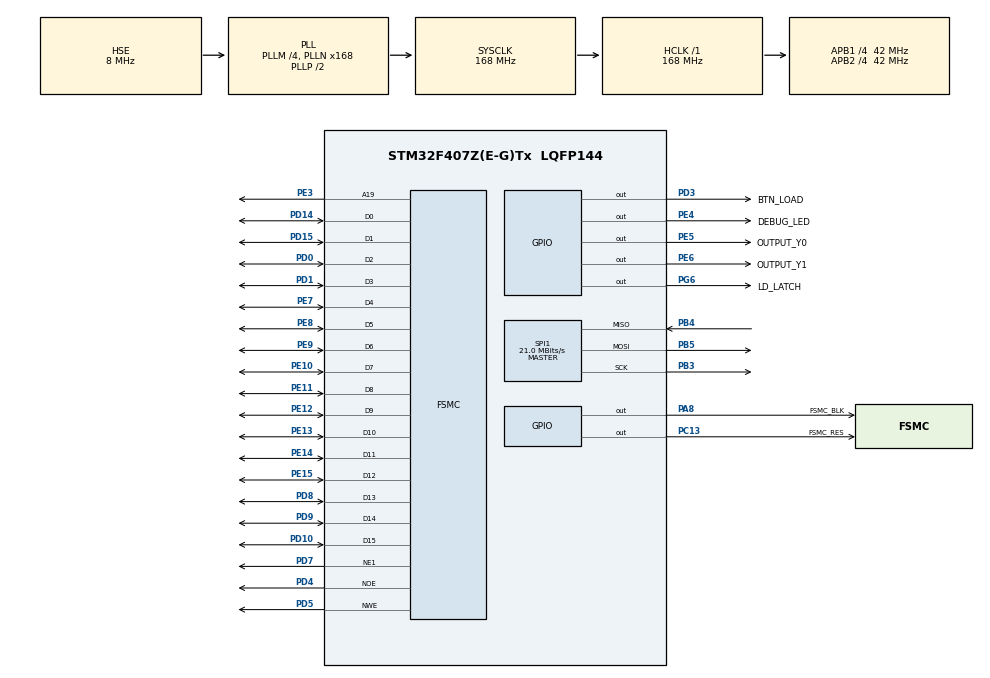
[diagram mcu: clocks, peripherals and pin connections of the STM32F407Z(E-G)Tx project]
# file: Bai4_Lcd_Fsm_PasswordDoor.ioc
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FSMC.AddressSetupTime1=0xf
FSMC.BusTurnAroundDuration1=0
FSMC.DataSetupTime1=60
FSMC.ExtendedAddressSetupTime1=9
FSMC.ExtendedBusTurnAroundDuration1=0
FSMC.ExtendedDataSetupTime1=8
FSMC.ExtendedMode1=FSMC_EXTENDED_MODE_ENABLE
Mcu.Family=STM32F4
Mcu.Name=STM32F407Z(E-G)Tx
Mcu.Package=LQFP144
NVIC.PriorityGroup=NVIC_PRIORITYGROUP_4
NVIC.TIM2_IRQn=true\:0\:0\:false\:false\:true\:true\:true
PA13.Mode=Serial_Wire
PA13.Signal=SYS_JTMS-SWDIO
PA14.Mode=Serial_Wire
PA14.Signal=SYS_JTCK-SWCLK
PA8.GPIO_Label=FSMC_BLK
PA8.Signal=GPIO_Output
PB3.Mode=Full_Duplex_Master
PB3.Signal=SPI1_SCK
PB4.Mode=Full_Duplex_Master
PB4.Signal=SPI1_MISO
PB5.Mode=Full_Duplex_Master
PB5.Signal=SPI1_MOSI
PC13-ANTI_TAMP.GPIO_Label=FSMC_RES
PC13-ANTI_TAMP.Signal=GPIO_Output
PD0.Signal=FSMC_D2_DA2
PD1.Signal=FSMC_D3_DA3
PD10.Signal=FSMC_D15_DA15
PD14.Signal=FSMC_D0_DA0
PD15.Signal=FSMC_D1_DA1
PD3.GPIO_Label=BTN_LOAD
PD3.Signal=GPIO_Output
PD4.Signal=FSMC_NOE
PD5.Signal=FSMC_NWE
PD7.Mode=NorPsramChipSelect1_1
PD7.Signal=FSMC_NE1
PD8.Signal=FSMC_D13_DA13
PD9.Signal=FSMC_D14_DA14
PE10.Signal=FSMC_D7_DA7
PE11.Signal=FSMC_D8_DA8
PE12.Signal=FSMC_D9_DA9
PE13.Signal=FSMC_D10_DA10
PE14.Signal=FSMC_D11_DA11
PE15.Signal=FSMC_D12_DA12
PE3.Signal=FSMC_A19
PE4.GPIO_Label=DEBUG_LED
PE4.Signal=GPIO_Output
PE5.GPIO_Label=OUTPUT_Y0
PE5.Signal=GPIO_Output
PE6.GPIO_Label=OUTPUT_Y1
PE6.Signal=GPIO_Output
PE7.Signal=FSMC_D4_DA4
PE8.Signal=FSMC_D5_DA5
PE9.Signal=FSMC_D6_DA6
PG6.GPIO_Label=LD_LATCH
PG6.Signal=GPIO_Output
PH0-OSC_IN.Mode=HSE-External-Oscillator
PH0-OSC_IN.Signal=RCC_OSC_IN
PH1-OSC_OUT.Mode=HSE-External-Oscillator
PH1-OSC_OUT.Signal=RCC_OSC_OUT
ProjectManager.HeapSize=0x200
ProjectManager.StackSize=0x400
ProjectManager.TargetToolchain=STM32CubeIDE
RCC.48MHZClocksFreq_Value=84000000
RCC.AHBFreq_Value=168000000
RCC.APB1CLKDivider=RCC_HCLK_DIV4
RCC.APB1Freq_Value=42000000
RCC.APB1TimFreq_Value=84000000
RCC.APB2CLKDivider=RCC_HCLK_DIV4
RCC.APB2Freq_Value=42000000
RCC.APB2TimFreq_Value=84000000
RCC.CortexFreq_Value=168000000
RCC.HCLKFreq_Value=168000000
RCC.HSE_VALUE=8000000
RCC.HSI_VALUE=16000000
RCC.LSE_VALUE=32768
RCC.PLLM=4
RCC.PLLN=168
RCC.PLLSourceVirtual=RCC_PLLSOURCE_HSE
RCC.SYSCLKFreq_VALUE=168000000
RCC.SYSCLKSource=RCC_SYSCLKSOURCE_PLLCLK
RCC.VCOOutputFreq_Value=336000000
SH.FSMC_A19.0=FSMC_A19,A19_1
SH.FSMC_D0_DA0.0=FSMC_D0,16b-d1
SH.FSMC_D10_DA10.0=FSMC_D10,16b-d1
SH.FSMC_D11_DA11.0=FSMC_D11,16b-d1
SH.FSMC_D12_DA12.0=FSMC_D12,16b-d1
SH.FSMC_D13_DA13.0=FSMC_D13,16b-d1
SH.FSMC_D14_DA14.0=FSMC_D14,16b-d1
SH.FSMC_D15_DA15.0=FSMC_D15,16b-d1
SH.FSMC_D1_DA1.0=FSMC_D1,16b-d1
SH.FSMC_D2_DA2.0=FSMC_D2,16b-d1
SH.FSMC_D3_DA3.0=FSMC_D3,16b-d1
SH.FSMC_D4_DA4.0=FSMC_D4,16b-d1
SH.FSMC_D5_DA5.0=FSMC_D5,16b-d1
SH.FSMC_D6_DA6.0=FSMC_D6,16b-d1
SH.FSMC_D7_DA7.0=FSMC_D7,16b-d1
SH.FSMC_D8_DA8.0=FSMC_D8,16b-d1
SH.FSMC_D9_DA9.0=FSMC_D9,16b-d1
SH.FSMC_NOE.0=FSMC_NOE,Lcd1
SH.FSMC_NWE.0=FSMC_NWE,Lcd1
SPI1.CalculateBaudRate=21.0 MBits/s
SPI1.Direction=SPI_DIRECTION_2LINES
SPI1.Mode=SPI_MODE_MASTER
SPI1.VirtualType=VM_MASTER
TIM2.Period=100-1
TIM2.Prescaler=840-1
VP_TIM2_VS_ClockSourceINT.Mode=Internal
board=custom

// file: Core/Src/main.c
/* USER CODE BEGIN Header */
/**
  ******************************************************************************
  * @file           : main.c
  * @brief          : Main program body
  ******************************************************************************
  * @attention
  *
  * <h2><center>&copy; Copyright (c) 2023 STMicroelectronics.
  * All rights reserved.</center></h2>
  *
  * This software component is licensed by ST under BSD 3-Clause license,
  * the "License"; You may not use this file except in compliance with the
  * License. You may obtain a copy of the License at:
  *                        opensource.org/licenses/BSD-3-Clause
  *
  ******************************************************************************
  */
/* USER CODE END Header */
#include "main.h"
#include "spi.h"
#include "tim.h"
#include "gpio.h"
#include "fsmc.h"

/* USER CODE BEGIN Includes */
#include "software_timer.h"
#include "button.h"
#include "led7seg.h"
#include "lcd.h"
#include "picture.h"
/* USER CODE END Includes */

/* USER CODE BEGIN PM */
#define INIT_SYSTEM		0
#define LOCK_DOOR		6
#define ENTER_PASSWORD	1
#define UNLOCK_DOOR		3
#define WRONG_PASSWORD	4
#define CHECK_PASSWORD	5
/* USER CODE END PM */

/* USER CODE BEGIN PV */
uint8_t count_led_debug = 0;
uint8_t count_led_Y0 = 0;
uint8_t count_led_Y1 = 0;

uint16_t count_led7 = 0;

unsigned char arrayMapOfNumber[10] = {13, 0, 1, 2, 4, 5, 6, 8, 9, 10 };
unsigned char arrayMapOfPassword[4] = { 2, 2, 2, 2 };
unsigned char arrayPassword[4] = { 0, 0, 0, 0 };
uint16_t statusPassword = 0;
uint16_t indexOfNumber = 0;
uint16_t numberValue;
uint16_t timeDelay = 0;
uint8_t flag_open = 0;
/* USER CODE END PV */

void SystemClock_Config(void);
/* USER CODE BEGIN PFP */
void system_init();
void test_LedDebug();
void App_PasswordDoor();
void UnlockDoor();
void LockDoor();
uint8_t isButtonEnter();
uint16_t isButtonNumber();
uint16_t checkPassword();

/* USER CODE END PFP */

int main(void)
{

  /* MCU Configuration--------------------------------------------------------*/

  /* Reset of all peripherals, Initializes the Flash interface and the Systick. */
  HAL_Init();

  /* Configure the system clock */
  SystemClock_Config();

  /* Initialize all configured peripherals */
  MX_GPIO_Init();
  MX_TIM2_Init();
  MX_SPI1_Init();
  MX_FSMC_Init();
  /* USER CODE BEGIN 2 */
  system_init();
  led7_SetDigit(9, 0, 0);
  led7_SetDigit(4, 1, 1);
  led7_SetDigit(2, 2, 0);
  led7_SetDigit(7, 3, 0);
  led7_SetColon(0);
  led_On(6);
  led_Off(7);
  led_On(8);
//  lcd_ShowBackground();
  lcd_Clear(BLACK);

  /* USER CODE END 2 */

  /* Infinite loop */
  /* USER CODE BEGIN WHILE */
  while (1)
  {
	  while(!flag_timer2);
	  flag_timer2 = 0;
	  button_Scan();
	  App_PasswordDoor();
    /* USER CODE END WHILE */

  }
}

void SystemClock_Config(void)
{
  RCC_OscInitTypeDef RCC_OscInitStruct = {0};
  RCC_ClkInitTypeDef RCC_ClkInitStruct = {0};

  /** Configure the main internal regulator output voltage
  */
  __HAL_RCC_PWR_CLK_ENABLE();
  __HAL_PWR_VOLTAGESCALING_CONFIG(PWR_REGULATOR_VOLTAGE_SCALE1);
  /** Initializes the RCC Oscillators according to the specified parameters
  * in the RCC_OscInitTypeDef structure.
  */
  RCC_OscInitStruct.OscillatorType = RCC_OSCILLATORTYPE_HSE;
  RCC_OscInitStruct.HSEState = RCC_HSE_ON;
  RCC_OscInitStruct.PLL.PLLState = RCC_PLL_ON;
  RCC_OscInitStruct.PLL.PLLSource = RCC_PLLSOURCE_HSE;
  RCC_OscInitStruct.PLL.PLLM = 4;
  RCC_OscInitStruct.PLL.PLLN = 168;
  RCC_OscInitStruct.PLL.PLLP = RCC_PLLP_DIV2;
  RCC_OscInitStruct.PLL.PLLQ = 4;
  if (HAL_RCC_OscConfig(&RCC_OscInitStruct) != HAL_OK)
  {
    Error_Handler();
  }
  /** Initializes the CPU, AHB and APB buses clocks
  */
  RCC_ClkInitStruct.ClockType = RCC_CLOCKTYPE_HCLK|RCC_CLOCKTYPE_SYSCLK
                              |RCC_CLOCKTYPE_PCLK1|RCC_CLOCKTYPE_PCLK2;
  RCC_ClkInitStruct.SYSCLKSource = RCC_SYSCLKSOURCE_PLLCLK;
  RCC_ClkInitStruct.AHBCLKDivider = RCC_SYSCLK_DIV1;
  RCC_ClkInitStruct.APB1CLKDivider = RCC_HCLK_DIV4;
  RCC_ClkInitStruct.APB2CLKDivider = RCC_HCLK_DIV4;

  if (HAL_RCC_ClockConfig(&RCC_ClkInitStruct, FLASH_LATENCY_5) != HAL_OK)
  {
    Error_Handler();
  }
}

/* USER CODE BEGIN 4 */
void system_init(){
	  HAL_GPIO_WritePin(OUTPUT_Y0_GPIO_Port, OUTPUT_Y0_Pin, 0);
	  HAL_GPIO_WritePin(OUTPUT_Y1_GPIO_Port, OUTPUT_Y1_Pin, 0);
	  HAL_GPIO_WritePin(DEBUG_LED_GPIO_Port, DEBUG_LED_Pin, 0);
	  timer_init();
	  led7_init();
	  button_init();
	  lcd_init();
	  setTimer2(50);
	  HAL_Delay(1000);
}

void test_LedDebug(){
	count_led_debug = (count_led_debug + 1)%20;
	if(count_led_debug == 0){
		HAL_GPIO_TogglePin(DEBUG_LED_GPIO_Port, DEBUG_LED_Pin);
	}
}

uint16_t isButtonNumber() {
	for (int i = 0; i < 10; i++)
		if (button_count[arrayMapOfNumber[i]] == 1) {
			numberValue = i;
			return 1;
		}
	return 0;
}

uint16_t checkPassword() {
	for (int i = 0; i < 4; i++) {
		if (arrayPassword[i] != arrayMapOfPassword[i]) {
			return 0;
		}
	}
	return 1;
}

void UnlockDoor() {
	if(flag_open == 0){
		lcd_ShowPicture(80, 90, 77, 130, gImage_door2);
		lcd_ShowPicture(80, 90, 77, 130, gImage_door3);
		lcd_ShowPicture(80, 90, 80, 135, gImage_door4);
		lcd_ShowPicture(80, 90, 90, 138, gImage_door5);
		lcd_ShowPicture(80, 90, 98, 138, gImage_door6);
		flag_open = 1;
	}
	lcd_ShowPicture(80, 90, 112, 138, gImage_door7);
}

void LockDoor() {
	lcd_ShowPicture(80, 100, 77, 130, gImage_door1);
}

uint8_t isButtonEnter(){
	if(button_count[12] == 1) return 1;
	else return 0;
}

void App_PasswordDoor() {
	switch (statusPassword) {
	case INIT_SYSTEM:
		lcd_ShowPicture(0, 0, 240, 320, gImage_bg);
		statusPassword = LOCK_DOOR;
		break;
	case LOCK_DOOR:
		lcd_ShowPicture(17, 25, 206, 50, gImage_press1);
		lcd_ShowPicture(107, 265, 30, 32, gImage_protect);
		LockDoor();

		if (isButtonEnter()) {
			indexOfNumber = 0;
			timeDelay = 0;
			statusPassword = ENTER_PASSWORD;

			lcd_Fill(30, 25, 210, 80, WHITE);		//clear text
			lcd_Fill(30, 265, 210, 300, WHITE);		//clear protect

			lcd_ShowPicture(17, 25, 206, 48, gImage_enterPW);
			lcd_ShowPicture(17, 235, 206, 30, gImage_PW);
		}
		break;
	case ENTER_PASSWORD:
		timeDelay++;

		if (isButtonNumber()) {
			lcd_ShowStr(70 + indexOfNumber * 30, 242, "*", BLACK, LIGHTGRAY, 16, 0);
			arrayPassword[indexOfNumber] = numberValue;
			indexOfNumber++;
			timeDelay = 0;
		}

		if (indexOfNumber >= 4) {
			statusPassword = CHECK_PASSWORD;
		}

		if (timeDelay >= 100) {
			statusPassword = LOCK_DOOR;
			lcd_Fill(20, 20, 220, 300, WHITE);
		}
		break;
	case CHECK_PASSWORD:
		timeDelay = 0;
		if (checkPassword()) {
			statusPassword = UNLOCK_DOOR;
			timeDelay = 0;
		} else {
			statusPassword = WRONG_PASSWORD;
		}

		break;
	case UNLOCK_DOOR:
		timeDelay++;
		UnlockDoor();
		if (timeDelay >= 100) {
			statusPassword = LOCK_DOOR;
			lcd_Fill(20, 20, 220, 300, WHITE);
		}
		break;
	case WRONG_PASSWORD:
		timeDelay++;
		lcd_ShowPicture(17, 25, 206, 53, gImage_wrongPW);
		lcd_ShowPicture(17, 235, 206, 30, gImage_PW);
		lcd_ShowPicture(17, 265, 206, 28, gImage_wrong);

		statusPassword = ENTER_PASSWORD;
		indexOfNumber = 0;

		if (timeDelay >= 100) {
			statusPassword = LOCK_DOOR;
		}

		break;
	default:
		break;
	}
}

/* USER CODE END 4 */

void Error_Handler(void)
{
  __disable_irq();
  while (1)
  {
  }
}

/************************ (C) COPYRIGHT STMicroelectronics *****END OF FILE****/
